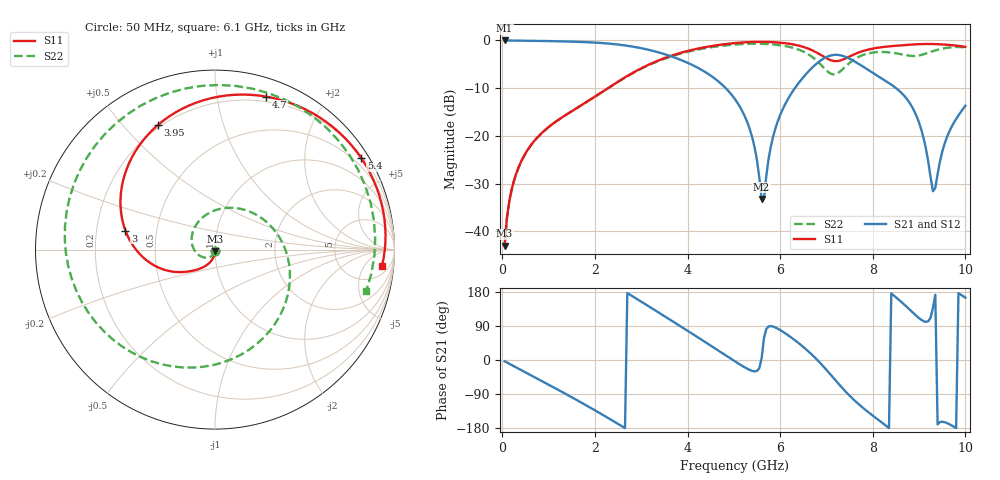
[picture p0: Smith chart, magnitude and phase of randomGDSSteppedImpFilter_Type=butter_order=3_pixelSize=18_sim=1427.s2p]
! freq	dB(S11)	phase(S11)	dB(S12)	phase(S12)
!  dB(S21)	phase(S21)	dB(S22)	phase(S22)
!S-par simulation data
#  GHz  S  DB  R 50
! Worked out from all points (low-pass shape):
!   200 points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, 50 MHz to 10 GHz, reference 50 ohm
!   highest |S21| = -0.02 dB at 50 MHz (marker M1); lowest = -33.2 dB at 5.6 GHz (marker M2)
!   |S21| within 3 dB of the highest: start of sweep to 3.547 GHz
!   lowest |S11| = -43.0 dB at 50 MHz (marker M3), VSWR 1.01, Z = 50.1 - j0.702 ohm
!   |S11| at or under -10 dB: start of sweep to 2.28 GHz
!   |S22| runs from -43.1 to -0.7 dB; largest |S21 - S12| = 0
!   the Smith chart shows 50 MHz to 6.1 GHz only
!   S11 on the Smith chart (normalised r, x): 50 MHz: 1.00, -0.01; 3 GHz: 0.33, +0.09; 3.95 GHz: 0.19, +0.62; 4.7 GHz: 0.16, +1.38; 5.4 GHz: 0.26, +3.48; 6.1 GHz: 9, -14
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0.05  -42.97 -80.2  -0.02 -3.3  -0.02 -3.3  -43.08 -82.8
0.45  -24.52 -106.5  -0.06 -29.2  -0.06 -29.2  -24.61 -131.5
1.75  -13.32 -144.6  -0.35 -115.3  -0.35 -115.3  -13.32 92.3
2.4  -9.25 -164.6  -0.77 -161.3  -0.77 -161.3  -9.29 20.4
3  -5.85 168.0  -1.64 154.0  -1.64 154.0  -5.94 -41.6
3.4  -4.09 146.4  -2.58 123.5  -2.58 123.5  -4.21 -80.9
3.95  -2.35 114.8  -4.47 81.1  -4.47 81.1  -2.52 -134.0
4.7  -0.92 71.4  -8.87 22.1  -8.87 22.1  -1.18 149.9
5.05  -0.54 51.5  -12.66 -5.6  -12.66 -5.6  -0.85 111.5
5.4  -0.34 31.9  -20.43 -28.9  -20.43 -28.9  -0.71 71.1
5.6  -0.32 20.9  -33.21 4.4  -33.21 4.4  -0.73 47.2
6.1  -0.59 -5.7  -13.51 71.3  -13.51 71.3  -1.18 -15.3
6.7  -2.11 -35.0  -5.63 12.4  -5.63 12.4  -3.52 -108.1
7  -3.75 -42.1  -3.49 -26.0  -3.49 -26.0  -6.31 177.4
7.3  -4.20 -38.2  -3.12 -68.2  -3.12 -68.2  -6.47 76.0
7.75  -2.35 -45.2  -5.25 -122.3  -5.25 -122.3  -3.20 -25.4
8.35  -1.26 -66.6  -8.94 -179.5  -8.94 -179.5  -2.50 -117.1
8.7  -0.98 -78.6  -11.84 144.1  -11.84 144.1  -3.08 175.9
9.05  -0.77 -91.1  -18.76 105.8  -18.76 105.8  -3.04 87.6
9.3  -0.76 -100.5  -31.58 138.1  -31.58 138.1  -2.25 29.9
9.6  -0.92 -111.7  -20.30 -166.3  -20.30 -166.3  -1.56 -20.9
10  -1.36 -127.0  -13.68 164.4  -13.68 164.4  -1.45 -70.1
